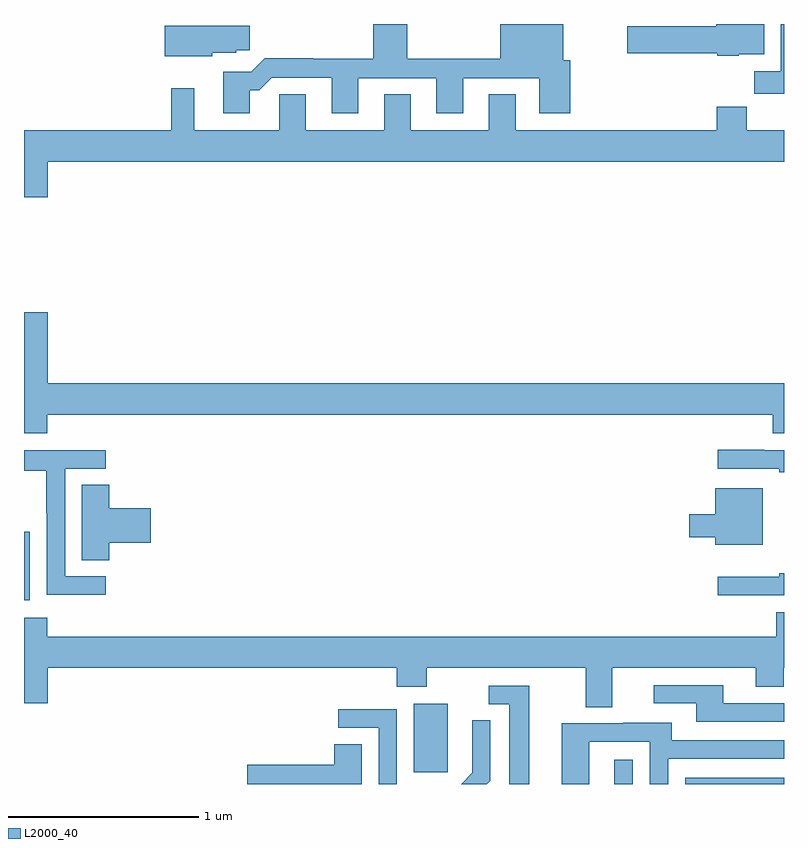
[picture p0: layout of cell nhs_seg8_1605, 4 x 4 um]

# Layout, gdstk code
import gdstk
lib = gdstk.Library(unit=1e-6, precision=1e-09)
def R(c, l, rs):  # rectangles x0, y0, x1, y1
    for r in rs: c.add(gdstk.rectangle(r[:2], r[2:], *l))
def P(c, l, *ps):  # polygons
    for p in ps: c.add(gdstk.Polygon(p, *l))
L2000_40 = (2000, 40)

nhs_seg8_1605 = lib.new_cell('nhs_seg8_1605')
R(nhs_seg8_1605, L2000_40, [(216.107,1103.9,216.204,1104.028), (216.48,1103.9,217,1103.934), (215.051,1103.961,215.23,1104.322), (213,1104.866,213.031,1105.227)])
P(nhs_seg8_1605, L2000_40, [(216.762,1107.74),(216.895,1107.74),(216.895,1107.9),(216.644,1107.9),(216.644,1107.887),(216.174,1107.887),(216.174,1107.745),(216.648,1107.745),(216.648,1107.734),(216.762,1107.734)],
  [(214.189,1107.551),(214.238,1107.551),(214.305,1107.618),(214.619,1107.618),(214.619,1107.429),(214.759,1107.429),(214.759,1107.615),(215.171,1107.615),(215.171,1107.429),(215.311,1107.429),(215.311,1107.615),(215.711,1107.615),(215.711,1107.429),(215.876,1107.429),(215.876,1107.708),(215.839,1107.708),(215.839,1107.9),(215.507,1107.9),(215.507,1107.716),(215.016,1107.716),(215.016,1107.9),(214.838,1107.9),(214.838,1107.716),(214.523,1107.716),(214.523,1107.719),(214.268,1107.719),(214.197,1107.648),(214.049,1107.648),(214.049,1107.429),(214.189,1107.429)],
  [(217,1107.9),(216.983,1107.9),(216.983,1107.652),(216.844,1107.652),(216.844,1107.534),(217,1107.534)],
  [(213.99,1107.749),(214.116,1107.749),(214.116,1107.763),(214.189,1107.763),(214.189,1107.892),(213.74,1107.892),(213.74,1107.731),(213.99,1107.731)],
  [(213.124,1107.176),(217,1107.176),(217,1107.34),(216.803,1107.34),(216.803,1107.464),(216.647,1107.464),(216.647,1107.34),(215.587,1107.34),(215.587,1107.53),(215.447,1107.53),(215.447,1107.34),(215.035,1107.34),(215.035,1107.53),(214.895,1107.53),(214.895,1107.34),(214.483,1107.34),(214.483,1107.53),(214.344,1107.53),(214.344,1107.34),(213.895,1107.34),(213.895,1107.562),(213.774,1107.562),(213.774,1107.34),(213,1107.34),(213,1106.988),(213.124,1106.988)],
  [(213.122,1105.844),(216.941,1105.844),(216.941,1105.746),(217,1105.746),(217,1106.008),(213.124,1106.008),(213.124,1106.383),(213,1106.383),(213,1105.745),(213.122,1105.745)],
  [(217,1105.656),(216.897,1105.656),(216.897,1105.658),(216.651,1105.658),(216.651,1105.56),(216.974,1105.56),(216.974,1105.54),(217,1105.54)],
  [(213.43,1104.993),(213.216,1104.993),(213.216,1105.56),(213.43,1105.56),(213.43,1105.656),(213,1105.656),(213,1105.548),(213.118,1105.548),(213.118,1105.324),(213.12,1105.324),(213.12,1104.895),(213.43,1104.895)],
  [(213.449,1105.169),(213.667,1105.169),(213.667,1105.352),(213.449,1105.352),(213.449,1105.475),(213.305,1105.475),(213.305,1105.078),(213.449,1105.078)],
  [(216.889,1105.456),(216.638,1105.456),(216.638,1105.321),(216.501,1105.321),(216.501,1105.199),(216.638,1105.199),(216.638,1105.16),(216.889,1105.16)],
  [(216.863,1104.894),(217,1104.894),(217,1105.01),(216.974,1105.01),(216.974,1104.991),(216.651,1104.991),(216.651,1104.893),(216.863,1104.893)],
  [(216.097,1104.512),(216.851,1104.512),(216.851,1104.413),(216.999,1104.413),(216.999,1104.512),(217,1104.512),(217,1104.805),(216.959,1104.805),(216.959,1104.676),(213.122,1104.676),(213.122,1104.775),(213,1104.775),(213,1104.324),(213.124,1104.324),(213.124,1104.512),(214.961,1104.512),(214.961,1104.413),(215.121,1104.413),(215.121,1104.512),(215.957,1104.512),(215.957,1104.304),(216.097,1104.304)],
  [(217,1104.324),(216.679,1104.324),(216.679,1104.42),(216.315,1104.42),(216.315,1104.324),(216.539,1104.324),(216.539,1104.228),(217,1104.228)],
  [(215.659,1104.417),(215.445,1104.417),(215.445,1104.321),(215.555,1104.321),(215.555,1103.9),(215.659,1103.9)],
  [(214.962,1104.294),(214.653,1104.294),(214.653,1104.195),(214.866,1104.195),(214.866,1103.9),(214.962,1103.9)],
  [(215.454,1103.918),(215.454,1104.236),(215.358,1104.236),(215.358,1104.082),(215.36,1104.082),(215.36,1103.96),(215.3,1103.9),(215.436,1103.9)],
  [(215.976,1104.123),(216.294,1104.123),(216.294,1103.9),(216.39,1103.9),(216.39,1104.033),(217,1104.033),(217,1104.129),(216.409,1104.129),(216.409,1104.223),(216.155,1104.223),(216.155,1104.219),(215.831,1104.219),(215.831,1103.9),(215.976,1103.9)],
  [(214.777,1104.11),(214.634,1104.11),(214.634,1104.002),(214.176,1104.002),(214.176,1103.9),(214.777,1103.9)])

lib.write_gds('nhs_seg8_1605.gds')
